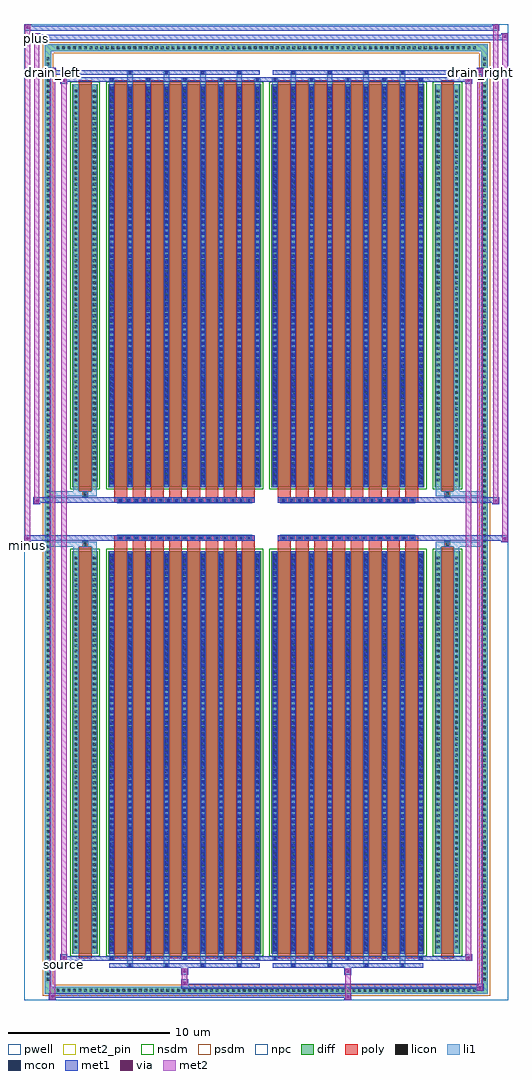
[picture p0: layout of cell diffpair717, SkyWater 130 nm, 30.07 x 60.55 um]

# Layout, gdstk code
import gdstk
lib = gdstk.Library(unit=1e-6, precision=5e-09)
def R(c, l, rs):  # rectangles x0, y0, x1, y1
    for r in rs: c.add(gdstk.rectangle(r[:2], r[2:], *l))
def A(c, l, x, y, w, h, nx, ny, dx, dy):  # array of equal rectangles
    R(c, l, [(x+i*dx, y+j*dy, x+i*dx+w, y+j*dy+h) for i in range(nx) for j in range(ny)])
def P(c, l, *ps):  # polygons
    for p in ps: c.add(gdstk.Polygon(p, *l))
pwell = (64, 44)
diff = (65, 20)
poly = (66, 20)
licon = (66, 44)
li1 = (67, 20)
mcon = (67, 44)
met1 = (68, 20)
via = (68, 44)
met2_pin = (69, 16)
met2 = (69, 20)
nsdm = (93, 44)
psdm = (94, 20)
npc = (95, 20)

diffpair717 = lib.new_cell('diffpair717')
R(diffpair717, pwell, [(-15.02,-29.84,15.02,30.71), (-12.34,-28.03,-0.01,-0.805), (0.01,-28.03,12.34,-0.805), (-12.34,0.805,-0.01,28.03), (0.01,0.805,12.34,28.03)])
A(diffpair717, diff, -13.125, -29.44, 0.41, 0.41, 77, 2, 0.34, 58.47)
A(diffpair717, diff, -13.75, -28.765, 0.41, 0.41, 1, 169, 0, 0.34)
A(diffpair717, diff, 13.34, -28.765, 0.41, 0.41, 1, 169, 0, 0.34)
R(diffpair717, diff, [(-13.125,-29.44,13.125,-29.03), (-13.75,-28.765,-13.34,28.765), (13.34,-28.765,13.75,28.765), (-12.03,-26.985,-10.45,-1.985), (-9.81,-26.985,-0.32,-1.985), (0.32,-26.985,9.81,-1.985), (10.45,-26.985,12.03,-1.985), (-12.03,1.985,-10.45,26.985), (-9.81,1.985,-0.32,26.985), (0.32,1.985,9.81,26.985), (10.45,1.985,12.03,26.985), (-13.125,29.03,13.125,29.44)])
P(diffpair717, diff, [(13.75,29.44),(-13.75,29.44),(-13.75,-29.03),(-13.34,-29.03),(-13.34,29.03),(13.34,29.03),(13.34,-29.03),(-13.34,-29.03),(-13.75,-29.03),(-13.75,-29.44),(13.75,-29.44)])
A(diffpair717, poly, -9.42, -27.235, 0.8, 25.5, 8, 2, 1.13, 28.97)
A(diffpair717, poly, 0.71, -27.235, 0.8, 25.5, 8, 2, 1.13, 28.97)
A(diffpair717, poly, -9.42, -1.735, 0.8, 0.4, 8, 2, 1.13, 3.07)
A(diffpair717, poly, 0.71, -1.735, 0.8, 0.4, 8, 2, 1.13, 3.07)
A(diffpair717, poly, -9.23, -1.335, 0.33, 0.33, 17, 2, 0.5, 2.34)
A(diffpair717, poly, 0.9, -1.335, 0.33, 0.33, 17, 2, 0.5, 2.34)
R(diffpair717, poly, [(-11.64,-27.235,-10.84,-1.735), (10.84,-27.235,11.64,-1.735), (-11.405,-1.735,-11.075,-1.405), (-11.405,-1.735,-11.075,-1.405), (11.075,-1.735,11.405,-1.405), (11.075,-1.735,11.405,-1.405), (-9.42,-1.335,-0.71,-1.005), (0.71,-1.335,9.42,-1.005), (-9.42,1.005,-0.71,1.335), (0.71,1.005,9.42,1.335), (-11.405,1.405,-11.075,1.735), (-11.405,1.405,-11.075,1.735), (11.075,1.405,11.405,1.735), (11.075,1.405,11.405,1.735), (-11.64,1.735,-10.84,27.235), (10.84,1.735,11.64,27.235)])
A(diffpair717, licon, -13.005, -29.32, 0.17, 0.17, 77, 2, 0.34, 58.47)
A(diffpair717, licon, -13.63, -28.645, 0.17, 0.17, 1, 169, 0, 0.34)
A(diffpair717, licon, 13.46, -28.645, 0.17, 0.17, 1, 169, 0, 0.34)
A(diffpair717, licon, -11.89, -26.64, 0.17, 0.17, 1, 72, 0, 0.34)
A(diffpair717, licon, -10.76, -26.64, 0.17, 0.17, 1, 72, 0, 0.34)
A(diffpair717, licon, -9.67, -26.64, 0.17, 0.17, 9, 72, 1.13, 0.34)
A(diffpair717, licon, 0.46, -26.64, 0.17, 0.17, 9, 72, 1.13, 0.34)
A(diffpair717, licon, 10.59, -26.64, 0.17, 0.17, 1, 72, 0, 0.34)
A(diffpair717, licon, 11.72, -26.64, 0.17, 0.17, 1, 72, 0, 0.34)
A(diffpair717, licon, -9.15, -1.255, 0.17, 0.17, 17, 2, 0.5, 2.34)
A(diffpair717, licon, 0.98, -1.255, 0.17, 0.17, 17, 2, 0.5, 2.34)
A(diffpair717, licon, -11.89, 2.33, 0.17, 0.17, 1, 72, 0, 0.34)
A(diffpair717, licon, -10.76, 2.33, 0.17, 0.17, 1, 72, 0, 0.34)
A(diffpair717, licon, -9.67, 2.33, 0.17, 0.17, 9, 72, 1.13, 0.34)
A(diffpair717, licon, 0.46, 2.33, 0.17, 0.17, 9, 72, 1.13, 0.34)
A(diffpair717, licon, 10.59, 2.33, 0.17, 0.17, 1, 72, 0, 0.34)
A(diffpair717, licon, 11.72, 2.33, 0.17, 0.17, 1, 72, 0, 0.34)
R(diffpair717, licon, [(-11.325,-1.655,-11.155,-1.485), (11.155,-1.655,11.325,-1.485), (-11.325,1.485,-11.155,1.655), (11.155,1.485,11.325,1.655)])
A(diffpair717, li1, -13.085, -29.4, 0.33, 0.33, 77, 2, 0.34, 58.47)
A(diffpair717, li1, -13.71, -28.725, 0.33, 0.33, 1, 169, 0, 0.34)
A(diffpair717, li1, 13.38, -28.725, 0.33, 0.33, 1, 169, 0, 0.34)
A(diffpair717, li1, -8.62, -27.79, 0.33, 0.805, 4, 2, 2.26, 54.775)
A(diffpair717, li1, -8.54, -27.79, 0.17, 0.17, 4, 2, 2.26, 55.41)
A(diffpair717, li1, 1.51, -27.79, 0.33, 0.805, 4, 2, 2.26, 54.775)
A(diffpair717, li1, 1.59, -27.79, 0.17, 0.17, 4, 2, 2.26, 55.41)
A(diffpair717, li1, -9.75, -27.36, 0.33, 0.375, 5, 2, 2.26, 54.345)
A(diffpair717, li1, -9.67, -27.36, 0.17, 0.17, 5, 2, 2.26, 54.55)
A(diffpair717, li1, 0.38, -27.36, 0.33, 0.375, 5, 2, 2.26, 54.345)
A(diffpair717, li1, 0.46, -27.36, 0.17, 0.17, 5, 2, 2.26, 54.55)
A(diffpair717, li1, -9.75, -26.985, 0.33, 25, 9, 2, 1.13, 28.97)
A(diffpair717, li1, 0.38, -26.985, 0.33, 25, 9, 2, 1.13, 28.97)
A(diffpair717, li1, -9.67, -26.81, 0.17, 0.17, 9, 69, 1.13, 0.36)
A(diffpair717, li1, -9.67, -26.81, 0.17, 24.65, 9, 2, 1.13, 28.97)
A(diffpair717, li1, 0.46, -26.81, 0.17, 0.17, 9, 69, 1.13, 0.36)
A(diffpair717, li1, 0.46, -26.81, 0.17, 24.65, 9, 2, 1.13, 28.97)
A(diffpair717, li1, -11.97, -26.72, 0.33, 0.33, 1, 72, 0, 0.34)
A(diffpair717, li1, -10.84, -26.72, 0.33, 0.33, 1, 72, 0, 0.34)
A(diffpair717, li1, -9.75, -26.72, 0.33, 0.33, 9, 72, 1.13, 0.34)
A(diffpair717, li1, 0.38, -26.72, 0.33, 0.33, 9, 72, 1.13, 0.34)
A(diffpair717, li1, 10.51, -26.72, 0.33, 0.33, 1, 72, 0, 0.34)
A(diffpair717, li1, 11.64, -26.72, 0.33, 0.33, 1, 72, 0, 0.34)
A(diffpair717, li1, -9.23, -1.335, 0.33, 0.33, 17, 2, 0.5, 2.34)
A(diffpair717, li1, 0.9, -1.335, 0.33, 0.33, 17, 2, 0.5, 2.34)
A(diffpair717, li1, -9.67, 2.16, 0.17, 0.17, 9, 69, 1.13, 0.36)
A(diffpair717, li1, 0.46, 2.16, 0.17, 0.17, 9, 69, 1.13, 0.36)
A(diffpair717, li1, -11.97, 2.25, 0.33, 0.33, 1, 72, 0, 0.34)
A(diffpair717, li1, -10.84, 2.25, 0.33, 0.33, 1, 72, 0, 0.34)
A(diffpair717, li1, -9.75, 2.25, 0.33, 0.33, 9, 72, 1.13, 0.34)
A(diffpair717, li1, 0.38, 2.25, 0.33, 0.33, 9, 72, 1.13, 0.34)
A(diffpair717, li1, 10.51, 2.25, 0.33, 0.33, 1, 72, 0, 0.34)
A(diffpair717, li1, 11.64, 2.25, 0.33, 0.33, 1, 72, 0, 0.34)
R(diffpair717, li1, [(-13.75,-29.44,-13.34,-29.03), (-13.75,-29.44,-13.34,-29.03), (-13.34,-29.44,13.34,-29.03), (13.34,-29.44,13.75,-29.03), (13.34,-29.44,13.75,-29.03), (-13.75,-29.03,-13.34,29.03), (13.34,-29.03,13.75,29.03), (-11.97,-26.985,-11.64,-1.985), (-10.84,-26.985,-10.51,-1.985), (10.51,-26.985,10.84,-1.985), (11.64,-26.985,11.97,-1.985), (-11.97,-1.985,-11.64,-1.405), (-10.84,-1.985,-10.51,-1.405), (10.51,-1.985,10.84,-1.405), (11.64,-1.985,11.97,-1.405), (-13.75,-1.735,-11.405,-1.405), (-11.97,-1.735,-11.405,-1.405), (-11.405,-1.735,-11.075,-1.405), (-11.075,-1.735,-10.51,-1.405), (10.51,-1.735,11.075,-1.405), (11.075,-1.735,11.405,-1.405), (11.075,-1.735,13.75,-1.405), (11.405,-1.735,11.97,-1.405), (-13.75,1.405,-11.405,1.735), (-11.97,1.405,-11.405,1.735), (-11.97,1.405,-11.64,1.985), (-11.405,1.405,-11.075,1.735), (-11.075,1.405,-10.51,1.735), (-10.84,1.405,-10.51,1.985), (10.51,1.405,11.075,1.735), (10.51,1.405,10.84,1.985), (11.075,1.405,11.405,1.735), (11.075,1.405,13.75,1.735), (11.405,1.405,11.97,1.735), (11.64,1.405,11.97,1.985), (-11.97,1.985,-11.64,26.985), (-10.84,1.985,-10.51,26.985), (10.51,1.985,10.84,26.985), (11.64,1.985,11.97,26.985), (-13.75,29.03,-13.34,29.44), (-13.75,29.03,-13.34,29.44), (-13.34,29.03,13.34,29.44), (13.34,29.03,13.75,29.44), (13.34,29.03,13.75,29.44)])
A(diffpair717, mcon, -8.54, -27.79, 0.17, 0.17, 4, 2, 2.26, 55.41)
A(diffpair717, mcon, 1.59, -27.79, 0.17, 0.17, 4, 2, 2.26, 55.41)
A(diffpair717, mcon, -9.67, -27.36, 0.17, 0.17, 5, 2, 2.26, 54.55)
A(diffpair717, mcon, 0.46, -27.36, 0.17, 0.17, 5, 2, 2.26, 54.55)
A(diffpair717, mcon, -9.67, -26.81, 0.17, 0.17, 9, 69, 1.13, 0.36)
A(diffpair717, mcon, 0.46, -26.81, 0.17, 0.17, 9, 69, 1.13, 0.36)
A(diffpair717, mcon, -9.15, -1.255, 0.17, 0.17, 17, 2, 0.5, 2.34)
A(diffpair717, mcon, 0.98, -1.255, 0.17, 0.17, 17, 2, 0.5, 2.34)
A(diffpair717, mcon, -9.67, 2.16, 0.17, 0.17, 9, 69, 1.13, 0.36)
A(diffpair717, mcon, 0.46, 2.16, 0.17, 0.17, 9, 69, 1.13, 0.36)
A(diffpair717, met1, -8.6, -27.85, 0.29, 0.29, 4, 2, 2.26, 55.41)
A(diffpair717, met1, 1.53, -27.85, 0.29, 0.29, 4, 2, 2.26, 55.41)
A(diffpair717, met1, -9.73, -27.42, 0.29, 0.29, 5, 2, 2.26, 54.55)
A(diffpair717, met1, 0.4, -27.42, 0.29, 0.29, 5, 2, 2.26, 54.55)
A(diffpair717, met1, -9.73, -26.985, 0.29, 25, 9, 2, 1.13, 28.97)
A(diffpair717, met1, 0.4, -26.985, 0.29, 25, 9, 2, 1.13, 28.97)
A(diffpair717, met1, -9.73, -26.87, 0.29, 0.29, 9, 69, 1.13, 0.36)
A(diffpair717, met1, 0.4, -26.87, 0.29, 0.29, 9, 69, 1.13, 0.36)
A(diffpair717, met1, -9.21, -1.315, 0.29, 0.29, 17, 2, 0.5, 2.34)
A(diffpair717, met1, 0.92, -1.315, 0.29, 0.29, 17, 2, 0.5, 2.34)
A(diffpair717, met1, -9.73, 2.1, 0.29, 0.29, 9, 69, 1.13, 0.36)
A(diffpair717, met1, 0.4, 2.1, 0.29, 0.29, 9, 69, 1.13, 0.36)
R(diffpair717, met1, [(-13.48,-29.84,-13.05,-29.41), (4.85,-29.84,5.28,-29.41), (-13.48,-29.7,5.28,-29.41), (13.05,-29.27,13.48,-28.84), (-5.28,-29.13,13.48,-28.84), (-5.28,-28.99,-4.85,-28.56), (-5.28,-28.28,-4.85,-27.85), (4.85,-28.28,5.28,-27.85), (-9.73,-27.85,-0.4,-27.56), (0.4,-27.85,9.73,-27.56), (-12.77,-27.42,-12.34,-26.99), (-12.77,-27.42,-9.73,-27.13), (-9.73,-27.42,-0.4,-27.13), (-0.4,-27.42,0.4,-27.13), (0.4,-27.42,9.73,-27.13), (9.73,-27.42,12.77,-27.13), (12.34,-27.42,12.77,-26.99), (-15.02,-1.435,-14.59,-1.005), (14.59,-1.435,15.02,-1.005), (-15.02,-1.335,-0.71,-1.005), (-9.42,-1.335,-0.71,-1.005), (0.71,-1.335,9.42,-1.005), (0.71,-1.335,15.02,-1.005), (-14.45,0.905,-14.02,1.335), (14.02,0.905,14.45,1.335), (-14.45,1.005,-9.42,1.335), (-9.42,1.005,-0.71,1.335), (0.71,1.005,9.42,1.335), (9.42,1.005,14.45,1.335), (-12.77,26.99,-12.34,27.42), (12.34,26.99,12.77,27.42), (-12.77,27.13,-9.73,27.42), (-9.73,27.13,-0.4,27.42), (-0.4,27.13,0.4,27.42), (0.4,27.13,9.73,27.42), (9.73,27.13,12.77,27.42), (-13.48,27.56,-13.05,27.99), (-13.48,27.56,-9.73,27.85), (-9.73,27.56,-0.4,27.85), (0.4,27.56,9.73,27.85), (9.73,27.56,13.48,27.85), (13.05,27.56,13.48,27.99), (-14.45,29.71,-14.02,30.14), (-14.45,29.71,-12.34,30.04), (-12.34,29.71,12.34,30.04), (12.34,29.71,15.02,30.04), (14.59,29.71,15.02,30.14), (-15.02,30.28,-14.59,30.71), (-15.02,30.28,-12.34,30.61), (-12.34,30.28,12.34,30.61), (12.34,30.28,14.45,30.61), (14.02,30.28,14.45,30.71)])
R(diffpair717, via, [(-13.34,-29.7,-13.19,-29.55), (4.99,-29.7,5.14,-29.55), (13.19,-29.13,13.34,-28.98), (-5.14,-28.85,-4.99,-28.7), (-5.14,-28.14,-4.99,-27.99), (4.99,-28.14,5.14,-27.99), (-12.63,-27.28,-12.48,-27.13), (12.48,-27.28,12.63,-27.13), (-14.88,-1.295,-14.73,-1.145), (14.73,-1.295,14.88,-1.145), (-14.31,1.045,-14.16,1.195), (14.16,1.045,14.31,1.195), (-12.63,27.13,-12.48,27.28), (12.48,27.13,12.63,27.28), (-13.34,27.7,-13.19,27.85), (13.19,27.7,13.34,27.85), (-14.31,29.85,-14.16,30), (14.73,29.85,14.88,30), (-14.88,30.42,-14.73,30.57), (14.16,30.42,14.31,30.57)])
R(diffpair717, met2_pin, [(-12.805,-27.87,-12.305,-27.37), (-15.055,-1.885,-14.555,-1.385), (-13.515,27.44,-13.015,27.94), (13.015,27.44,13.515,27.94), (-14.485,29.59,-13.985,30.09)])
R(diffpair717, met2, [(-13.43,-29.79,-13.1,-29.46), (-13.43,-29.79,-13.1,27.94), (4.9,-29.79,5.23,-29.46), (4.9,-29.46,5.23,-28.23), (13.1,-29.22,13.43,-28.89), (13.1,-29.22,13.43,27.94), (-5.23,-28.94,-4.9,-28.61), (-5.23,-28.61,-4.9,-28.23), (-5.23,-28.23,-4.9,-27.9), (4.9,-28.23,5.23,-27.9), (-12.72,-27.37,-12.39,-27.04), (-12.72,-27.37,-12.39,27.37), (12.39,-27.37,12.72,-27.04), (12.39,-27.37,12.72,27.37), (-14.97,-1.385,-14.64,-1.055), (-14.97,-1.385,-14.64,30.66), (14.64,-1.385,14.97,-1.055), (14.64,-1.385,14.97,30.09), (-14.4,0.955,-14.07,1.285), (-14.4,0.955,-14.07,30.09), (14.07,0.955,14.4,1.285), (14.07,0.955,14.4,30.66), (-12.72,27.04,-12.39,27.37), (12.39,27.04,12.72,27.37), (-13.43,27.61,-13.1,27.94), (13.1,27.61,13.43,27.94), (-14.4,29.76,-14.07,30.09), (14.64,29.76,14.97,30.09), (-14.97,30.33,-14.64,30.66), (14.07,30.33,14.4,30.66)])
P(diffpair717, met2, [(14.97,-1.385),(14.97,-1.385),(14.97,-1.055),(14.97,-1.055)],
  [(14.97,29.76),(14.97,29.76),(14.97,30.09),(14.97,30.09)],
  [(-14.64,-1.385),(-14.64,-1.385),(-14.64,-1.055),(-14.64,-1.055)],
  [(-14.64,30.33),(-14.64,30.33),(-14.64,30.66),(-14.64,30.66)],
  [(14.4,0.955),(14.4,0.955),(14.4,1.285),(14.4,1.285)],
  [(14.4,30.33),(14.4,30.33),(14.4,30.66),(14.4,30.66)],
  [(-14.07,0.955),(-14.07,0.955),(-14.07,1.285),(-14.07,1.285)],
  [(-14.07,29.76),(-14.07,29.76),(-14.07,30.09),(-14.07,30.09)],
  [(-13.1,-29.79),(-13.1,-29.79),(-13.1,-29.46),(-13.1,-29.46)],
  [(-13.1,27.61),(-13.1,27.61),(-13.1,27.94),(-13.1,27.94)],
  [(13.43,-29.22),(13.43,-29.22),(13.43,-28.89),(13.43,-28.89)],
  [(13.43,27.61),(13.43,27.61),(13.43,27.94),(13.43,27.94)],
  [(-12.39,-27.37),(-12.39,-27.37),(-12.39,-27.04),(-12.39,-27.04)],
  [(-12.39,27.04),(-12.39,27.04),(-12.39,27.37),(-12.39,27.37)],
  [(12.72,-27.37),(12.72,-27.37),(12.72,-27.04),(12.72,-27.04)],
  [(12.72,27.04),(12.72,27.04),(12.72,27.37),(12.72,27.37)])
R(diffpair717, nsdm, [(-12.16,-27.115,-10.32,-1.855), (-9.94,-27.115,-0.19,-1.855), (0.19,-27.115,9.94,-1.855), (10.32,-27.115,12.16,-1.855), (-12.16,1.855,-10.32,27.115), (-9.94,1.855,-0.19,27.115), (0.19,1.855,9.94,27.115), (10.32,1.855,12.16,27.115)])
P(diffpair717, psdm, [(13.88,29.57),(-13.88,29.57),(-13.88,-28.9),(-13.21,-28.9),(-13.21,28.9),(13.21,28.9),(13.21,-28.9),(-13.21,-28.9),(-13.88,-28.9),(-13.88,-29.57),(13.88,-29.57)])
A(diffpair717, npc, -9.25, -1.355, 0.37, 0.37, 17, 2, 0.5, 2.34)
A(diffpair717, npc, 0.88, -1.355, 0.37, 0.37, 17, 2, 0.5, 2.34)
R(diffpair717, npc, [(-11.425,-1.755,-11.055,-1.385), (11.055,-1.755,11.425,-1.385), (-9.25,-1.355,-8.38,-0.985), (-9.25,-1.355,-8.38,-0.985), (-8.75,-1.355,-7.88,-0.985), (-8.75,-1.355,-7.88,-0.985), (-8.25,-1.355,-7.38,-0.985), (-8.25,-1.355,-7.38,-0.985), (-7.75,-1.355,-6.88,-0.985), (-7.75,-1.355,-6.88,-0.985), (-7.25,-1.355,-6.38,-0.985), (-7.25,-1.355,-6.38,-0.985), (-6.75,-1.355,-5.88,-0.985), (-6.75,-1.355,-5.88,-0.985), (-6.25,-1.355,-5.38,-0.985), (-6.25,-1.355,-5.38,-0.985), (-5.75,-1.355,-4.88,-0.985), (-5.75,-1.355,-4.88,-0.985), (-5.25,-1.355,-4.38,-0.985), (-5.25,-1.355,-4.38,-0.985), (-4.75,-1.355,-3.88,-0.985), (-4.75,-1.355,-3.88,-0.985), (-4.25,-1.355,-3.38,-0.985), (-4.25,-1.355,-3.38,-0.985), (-3.75,-1.355,-2.88,-0.985), (-3.75,-1.355,-2.88,-0.985), (-3.25,-1.355,-2.38,-0.985), (-3.25,-1.355,-2.38,-0.985), (-2.75,-1.355,-1.88,-0.985), (-2.75,-1.355,-1.88,-0.985), (-2.25,-1.355,-1.38,-0.985), (-2.25,-1.355,-1.38,-0.985), (-1.75,-1.355,-0.88,-0.985), (-1.75,-1.355,-0.88,-0.985), (0.88,-1.355,1.75,-0.985), (0.88,-1.355,1.75,-0.985), (1.38,-1.355,2.25,-0.985), (1.38,-1.355,2.25,-0.985), (1.88,-1.355,2.75,-0.985), (1.88,-1.355,2.75,-0.985), (2.38,-1.355,3.25,-0.985), (2.38,-1.355,3.25,-0.985), (2.88,-1.355,3.75,-0.985), (2.88,-1.355,3.75,-0.985), (3.38,-1.355,4.25,-0.985), (3.38,-1.355,4.25,-0.985), (3.88,-1.355,4.75,-0.985), (3.88,-1.355,4.75,-0.985), (4.38,-1.355,5.25,-0.985), (4.38,-1.355,5.25,-0.985), (4.88,-1.355,5.75,-0.985), (4.88,-1.355,5.75,-0.985), (5.38,-1.355,6.25,-0.985), (5.38,-1.355,6.25,-0.985), (5.88,-1.355,6.75,-0.985), (5.88,-1.355,6.75,-0.985), (6.38,-1.355,7.25,-0.985), (6.38,-1.355,7.25,-0.985), (6.88,-1.355,7.75,-0.985), (6.88,-1.355,7.75,-0.985), (7.38,-1.355,8.25,-0.985), (7.38,-1.355,8.25,-0.985), (7.88,-1.355,8.75,-0.985), (7.88,-1.355,8.75,-0.985), (8.38,-1.355,9.25,-0.985), (8.38,-1.355,9.25,-0.985), (-9.25,0.985,-8.38,1.355), (-9.25,0.985,-8.38,1.355), (-8.75,0.985,-7.88,1.355), (-8.75,0.985,-7.88,1.355), (-8.25,0.985,-7.38,1.355), (-8.25,0.985,-7.38,1.355), (-7.75,0.985,-6.88,1.355), (-7.75,0.985,-6.88,1.355), (-7.25,0.985,-6.38,1.355), (-7.25,0.985,-6.38,1.355), (-6.75,0.985,-5.88,1.355), (-6.75,0.985,-5.88,1.355), (-6.25,0.985,-5.38,1.355), (-6.25,0.985,-5.38,1.355), (-5.75,0.985,-4.88,1.355), (-5.75,0.985,-4.88,1.355), (-5.25,0.985,-4.38,1.355), (-5.25,0.985,-4.38,1.355), (-4.75,0.985,-3.88,1.355), (-4.75,0.985,-3.88,1.355), (-4.25,0.985,-3.38,1.355), (-4.25,0.985,-3.38,1.355), (-3.75,0.985,-2.88,1.355), (-3.75,0.985,-2.88,1.355), (-3.25,0.985,-2.38,1.355), (-3.25,0.985,-2.38,1.355), (-2.75,0.985,-1.88,1.355), (-2.75,0.985,-1.88,1.355), (-2.25,0.985,-1.38,1.355), (-2.25,0.985,-1.38,1.355), (-1.75,0.985,-0.88,1.355), (-1.75,0.985,-0.88,1.355), (0.88,0.985,1.75,1.355), (0.88,0.985,1.75,1.355), (1.38,0.985,2.25,1.355), (1.38,0.985,2.25,1.355), (1.88,0.985,2.75,1.355), (1.88,0.985,2.75,1.355), (2.38,0.985,3.25,1.355), (2.38,0.985,3.25,1.355), (2.88,0.985,3.75,1.355), (2.88,0.985,3.75,1.355), (3.38,0.985,4.25,1.355), (3.38,0.985,4.25,1.355), (3.88,0.985,4.75,1.355), (3.88,0.985,4.75,1.355), (4.38,0.985,5.25,1.355), (4.38,0.985,5.25,1.355), (4.88,0.985,5.75,1.355), (4.88,0.985,5.75,1.355), (5.38,0.985,6.25,1.355), (5.38,0.985,6.25,1.355), (5.88,0.985,6.75,1.355), (5.88,0.985,6.75,1.355), (6.38,0.985,7.25,1.355), (6.38,0.985,7.25,1.355), (6.88,0.985,7.75,1.355), (6.88,0.985,7.75,1.355), (7.38,0.985,8.25,1.355), (7.38,0.985,8.25,1.355), (7.88,0.985,8.75,1.355), (7.88,0.985,8.75,1.355), (8.38,0.985,9.25,1.355), (8.38,0.985,9.25,1.355), (-11.425,1.385,-11.055,1.755), (11.055,1.385,11.425,1.755)])
diffpair717.add(gdstk.Label('minus', (-14.805,-1.635), layer=69, texttype=5))
diffpair717.add(gdstk.Label('drain_right', (13.265,27.69), layer=69, texttype=5))
diffpair717.add(gdstk.Label('drain_left', (-13.265,27.69), layer=69, texttype=5))
diffpair717.add(gdstk.Label('source', (-12.555,-27.62), layer=69, texttype=5))
diffpair717.add(gdstk.Label('plus', (-14.235,29.84), layer=69, texttype=5))

lib.write_gds('diffpair717.gds')
